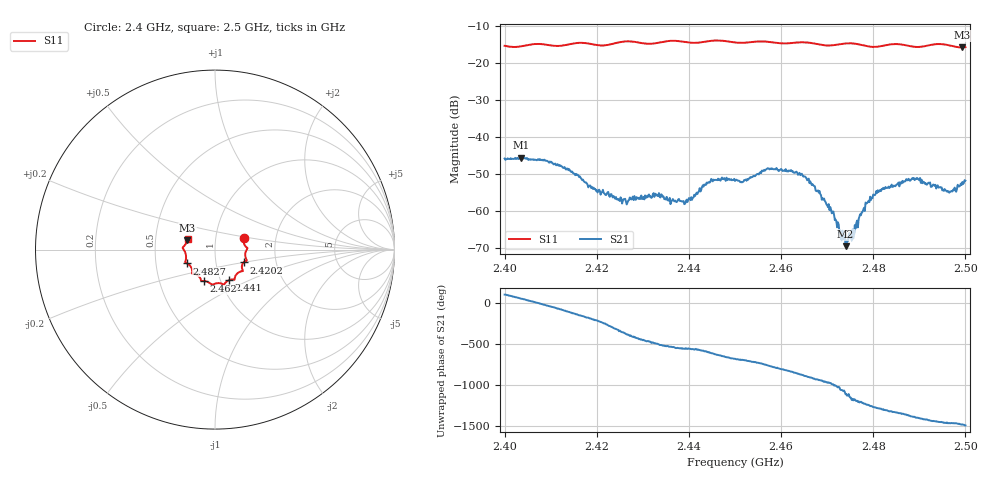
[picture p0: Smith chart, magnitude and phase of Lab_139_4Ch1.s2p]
# Hz S RI R 50
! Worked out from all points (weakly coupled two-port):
!   601 points, 2.4 GHz to 2.5 GHz, reference 50 ohm
!   highest |S21| = -45.60 dB at 2.4035 GHz (marker M1); lowest = -69.5 dB at 2.474 GHz (marker M2)
!   lowest |S11| = -15.8 dB at 2.4993 GHz (marker M3), VSWR 1.39, Z = 36.5 + j3.81 ohm
!   |S11| at or under -10 dB: start of sweep to end of sweep
!   S12 and S22 are empty: the file has one direction only
!   S11 on the Smith chart (normalised r, x): 2.4 GHz: 1.36, +0.18; 2.4202 GHz: 1.36, -0.20; 2.441 GHz: 1.10, -0.39; 2.462 GHz: 0.84, -0.30; 2.4827 GHz: 0.72, -0.12; 2.5 GHz: 0.73, +0.09
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2.4e9  0.1588 0.0628  -0.000986 0.00502  0 0  0 0
2.4035e9  0.166 0.0238  0.0032 0.00417  0 0  0 0
2.408833e9  0.1775 0.00219  0.0043 -0.00215  0 0  0 0
2.416667e9  0.1772 -0.0607  -0.0025 -0.00104  0 0  0 0
2.420167e9  0.1589 -0.0714  -0.00143 0.00105  0 0  0 0
2.426e9  0.1559 -0.1177  0.00143 -0.00022  0 0  0 0
2.433333e9  0.1116 -0.1509  -0.00127 -0.000975  0 0  0 0
2.441e9  0.0788 -0.1698  -0.0014 0.000622  0 0  0 0
2.445167e9  0.0517 -0.1936  -0.000652 0.00243  0 0  0 0
2.45e9  0.0285 -0.1875  0.00197 0.00162  0 0  0 0
2.462e9  -0.0602 -0.1755  -0.0014 -0.00316  0 0  0 0
2.466667e9  -0.0789 -0.1683  -0.00219 0.000484  0 0  0 0
2.470833e9  -0.1023 -0.1394  -0.000189 0.00104  0 0  0 0
2.474e9  -0.1251 -0.1347  0.000281 -0.000181  0 0  0 0
2.4755e9  -0.1278 -0.1324  2.06e-05 -0.000559  0 0  0 0
2.478833e9  -0.1292 -0.1074  -0.00124 -0.000464  0 0  0 0
2.482667e9  -0.156 -0.0773  -0.00147 0.00151  0 0  0 0
2.483333e9  -0.1603 -0.075  -0.00117 0.00178  0 0  0 0
2.489667e9  -0.1621 -0.0288  0.00201 0.00183  0 0  0 0
2.496667e9  -0.1711 0.0212  0.00165 -0.000807  0 0  0 0
2.499333e9  -0.154 0.0508  0.00189 -0.00159  0 0  0 0
2.5e9  -0.1522 0.0604  0.00158 -0.00203  0 0  0 0
